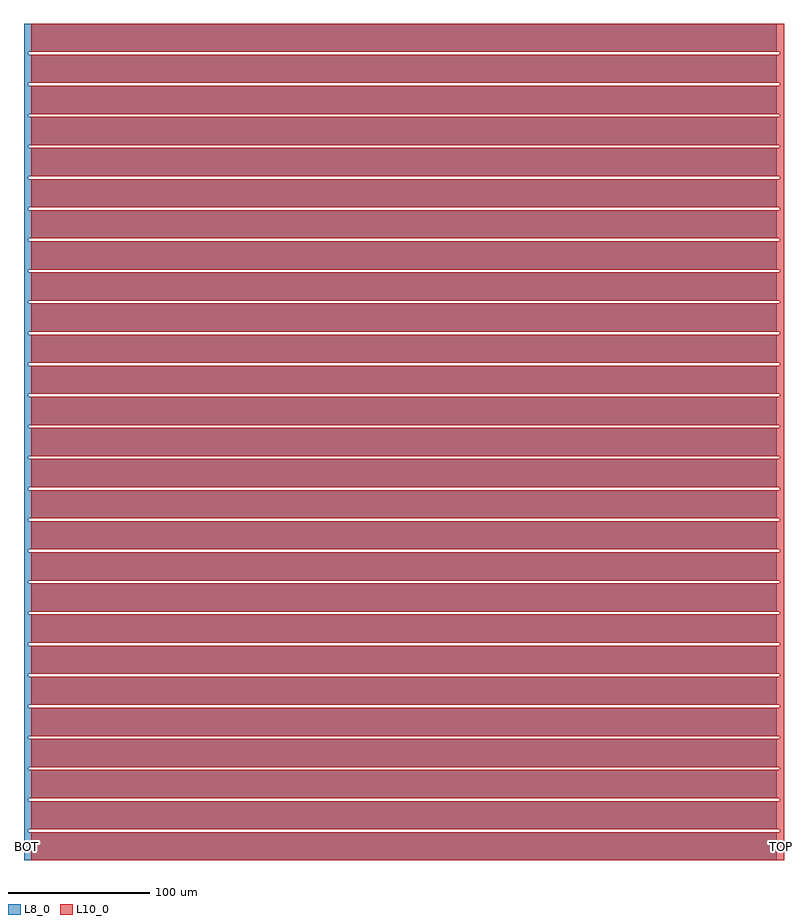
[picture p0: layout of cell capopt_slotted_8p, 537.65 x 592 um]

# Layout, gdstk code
import gdstk
lib = gdstk.Library(unit=1e-6, precision=1e-09)
def R(c, l, rs):  # rectangles x0, y0, x1, y1
    for r in rs: c.add(gdstk.rectangle(r[:2], r[2:], *l))
def A(c, l, x, y, w, h, nx, ny, dx, dy):  # array of equal rectangles
    R(c, l, [(x+i*dx, y+j*dy, x+i*dx+w, y+j*dy+h) for i in range(nx) for j in range(ny)])
L8_0 = (8, 0)
L10_0 = (10, 0)

capopt_slotted_8p = lib.new_cell('capopt_slotted_8p')
A(capopt_slotted_8p, L8_0, -5, 0, 532.65, 20, 1, 27, 0, 22)
R(capopt_slotted_8p, L8_0, [(-5,0,-2,592)])
A(capopt_slotted_8p, L10_0, 0, 0, 532.65, 20, 1, 27, 0, 22)
R(capopt_slotted_8p, L10_0, [(529.65,0,532.65,592)])
capopt_slotted_8p.add(gdstk.Label('BOT', (-3.5,10), layer=8, texttype=7))
capopt_slotted_8p.add(gdstk.Label('TOP', (531.15,10), layer=10, texttype=7))

lib.write_gds('capopt_slotted_8p.gds')
